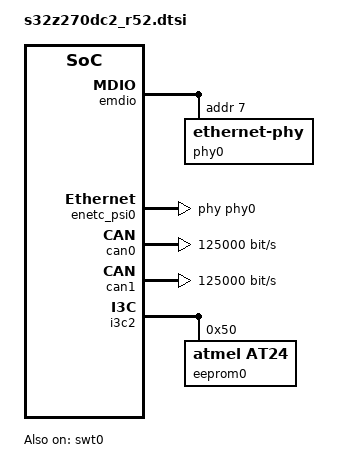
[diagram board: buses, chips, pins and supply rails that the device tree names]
/*
 * Copyright 2022-2023 NXP
 *
 * SPDX-License-Identifier: Apache-2.0
 */

#include "s32z270dc2_r52-pinctrl-common.dtsi"

&swt0 {
	status = "okay";
};

&emdio {
	pinctrl-0 = <&emdio_default>;
	pinctrl-names = "default";
	status = "okay";

	phy0: ethernet-phy@7 {
		compatible = "ethernet-phy";
		reg = <0x7>;
		status = "okay";
	};
};

&enetc_psi0 {
	local-mac-address = [00 00 00 01 02 00];
	pinctrl-0 = <&eth0_default>;
	pinctrl-names = "default";
	clock-frequency = <300000000>;
	phy-handle = <&phy0>;
	status = "okay";
};

&can0 {
	pinctrl-0 = <&can0_default>;
	pinctrl-names = "default";
	bus-speed = <125000>;
	sample-point = <875>;
	bus-speed-data = <1000000>;
	sample-point-data = <875>;
	status = "okay";
};

&can1 {
	pinctrl-0 = <&can1_default>;
	pinctrl-names = "default";
	bus-speed = <125000>;
	sample-point = <875>;
	bus-speed-data = <1000000>;
	sample-point-data = <875>;
};

&i3c2 {
	pinctrl-0 = <&i3c2_default>;
	pinctrl-names = "default";
	i2c-scl-hz = <400000>;
	i3c-od-scl-hz = <2500000>;
	i3c-scl-hz = <12500000>;
	status = "okay";

	eeprom0: eeprom@500000000000000010 {
		compatible = "atmel,at24";
		reg = <0x50 0x00 0x00000010>;
		status = "okay";
		size = <128>;
		pagesize = <8>;
		address-width = <8>;
		timeout = <5>;
	};
};
